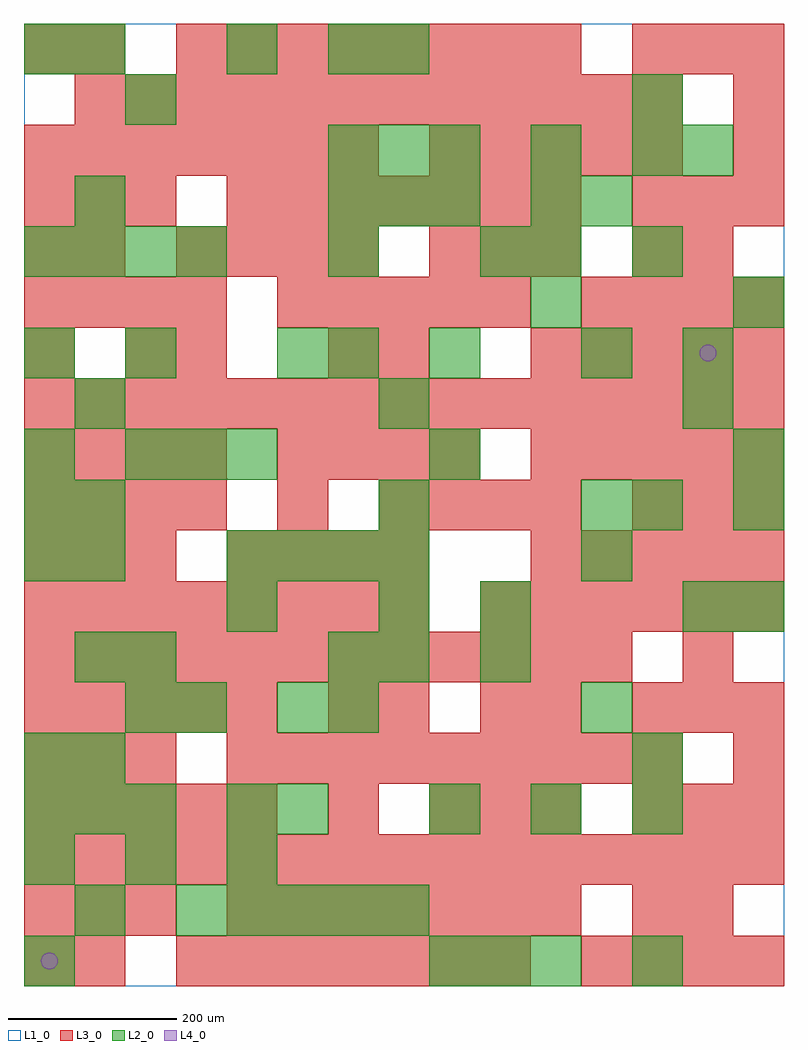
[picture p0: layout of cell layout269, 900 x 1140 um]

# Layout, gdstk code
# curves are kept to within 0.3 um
import gdstk
lib = gdstk.Library(unit=1e-6, precision=1e-09)
def R(c, l, rs):  # rectangles x0, y0, x1, y1
    for r in rs: c.add(gdstk.rectangle(r[:2], r[2:], *l))
def A(c, l, x, y, w, h, nx, ny, dx, dy):  # array of equal rectangles
    R(c, l, [(x+i*dx, y+j*dy, x+i*dx+w, y+j*dy+h) for i in range(nx) for j in range(ny)])
def P(c, l, *ps):  # polygons
    for p in ps: c.add(gdstk.Polygon(p, *l))
L1_0 = (1, 0)
L2_0 = (2, 0)
L3_0 = (3, 0)
L4_0 = (4, 0)

layout269 = lib.new_cell('layout269')
R(layout269, L1_0, [(0,0,900,1140)])
A(layout269, L2_0, 0, 0, 60, 60, 1, 3, 0, 240)
A(layout269, L2_0, 480, 0, 60, 60, 3, 1, 60, 0)
A(layout269, L2_0, 180, 60, 60, 60, 5, 1, 60, 0)
A(layout269, L2_0, 0, 120, 60, 60, 3, 1, 120, 0)
A(layout269, L2_0, 0, 180, 60, 60, 3, 1, 60, 0)
A(layout269, L2_0, 480, 180, 60, 60, 3, 1, 120, 0)
A(layout269, L2_0, 60, 240, 60, 60, 1, 3, 0, 120)
A(layout269, L2_0, 720, 240, 60, 60, 1, 3, 0, 300)
A(layout269, L2_0, 240, 480, 60, 60, 4, 1, 60, 0)
A(layout269, L2_0, 660, 540, 60, 60, 1, 3, 0, 180)
A(layout269, L2_0, 120, 600, 60, 60, 3, 1, 60, 0)
A(layout269, L2_0, 60, 660, 60, 60, 3, 1, 360, 0)
A(layout269, L2_0, 600, 780, 60, 60, 1, 4, 0, 60)
A(layout269, L2_0, 0, 840, 60, 60, 4, 1, 60, 0)
A(layout269, L2_0, 360, 900, 60, 60, 3, 2, 60, 60)
R(layout269, L2_0, [(720,0,780,60), (60,60,120,120), (240,180,300,240), (300,180,360,240), (120,300,180,360), (180,300,240,360), (300,300,360,360), (360,300,420,360), (660,300,720,360), (120,360,180,420), (360,360,420,420), (420,360,480,420), (540,360,600,420), (240,420,300,480), (420,420,480,480), (540,420,600,480), (780,420,840,480), (840,420,900,480), (660,480,720,540), (0,540,60,600), (60,540,120,600), (420,540,480,600), (840,540,900,600), (0,600,60,660), (480,600,540,660), (840,600,900,660), (0,720,60,780), (120,720,180,780), (300,720,360,780), (360,720,420,780), (480,720,540,780), (780,720,840,780), (840,780,900,840), (360,840,420,900), (540,840,600,900), (60,900,120,960), (720,960,780,1020), (780,960,840,1020), (120,1020,180,1080), (720,1020,780,1080), (0,1080,60,1140), (60,1080,120,1140), (240,1080,300,1140), (360,1080,420,1140), (420,1080,480,1140)])
A(layout269, L3_0, 180, 0, 60, 60, 7, 1, 60, 0)
A(layout269, L3_0, 660, 0, 60, 60, 4, 2, 60, 780)
A(layout269, L3_0, 0, 60, 60, 60, 3, 2, 60, 180)
A(layout269, L3_0, 240, 60, 60, 60, 7, 2, 60, 840)
A(layout269, L3_0, 0, 120, 60, 60, 15, 2, 60, 540)
A(layout269, L3_0, 0, 180, 60, 60, 5, 2, 60, 120)
A(layout269, L3_0, 480, 180, 60, 60, 3, 2, 60, 660)
A(layout269, L3_0, 720, 180, 60, 60, 3, 2, 60, 120)
A(layout269, L3_0, 240, 240, 60, 60, 9, 1, 60, 0)
A(layout269, L3_0, 0, 360, 60, 60, 12, 1, 60, 0)
A(layout269, L3_0, 0, 420, 60, 60, 8, 1, 60, 0)
A(layout269, L3_0, 540, 420, 60, 60, 6, 1, 60, 0)
A(layout269, L3_0, 0, 480, 60, 60, 3, 2, 60, 420)
A(layout269, L3_0, 240, 480, 60, 60, 4, 1, 60, 0)
A(layout269, L3_0, 600, 480, 60, 60, 5, 3, 60, 120)
A(layout269, L3_0, 0, 540, 60, 60, 4, 2, 60, 60)
A(layout269, L3_0, 420, 540, 60, 60, 4, 1, 60, 0)
A(layout269, L3_0, 720, 540, 60, 60, 3, 2, 60, 360)
A(layout269, L3_0, 300, 600, 60, 60, 4, 1, 60, 0)
A(layout269, L3_0, 0, 780, 60, 60, 4, 1, 60, 0)
A(layout269, L3_0, 300, 780, 60, 60, 5, 1, 60, 0)
A(layout269, L3_0, 180, 840, 60, 60, 4, 1, 60, 0)
A(layout269, L3_0, 0, 960, 60, 60, 7, 1, 60, 0)
A(layout269, L3_0, 480, 960, 60, 60, 5, 1, 60, 0)
A(layout269, L3_0, 60, 1020, 60, 60, 12, 1, 60, 0)
A(layout269, L3_0, 180, 1080, 60, 60, 8, 1, 60, 0)
A(layout269, L3_0, 720, 1080, 60, 60, 3, 1, 60, 0)
R(layout269, L3_0, [(0,0,60,60), (60,0,120,60), (720,60,780,120), (780,60,840,120), (360,180,420,240), (840,240,900,300), (360,300,420,360), (420,300,480,360), (540,300,600,360), (600,300,660,360), (780,360,840,420), (300,540,360,600), (0,720,60,780), (120,720,180,780), (180,720,240,780), (360,720,420,780), (420,720,480,780), (0,840,60,900), (60,840,120,900), (720,840,780,900), (780,840,840,900), (840,960,900,1020), (840,1020,900,1080), (0,1080,60,1140), (60,1080,120,1140)])
P(layout269, L4_0, [(40,30),(39.239,33.827),(37.071,37.071),(33.827,39.239),(30,40),(26.173,39.239),(22.929,37.071),(20.761,33.827),(20,30),(20.761,26.173),(22.929,22.929),(26.173,20.761),(30,20),(33.827,20.761),(37.071,22.929),(39.239,26.173)],
  [(820,750),(819.239,753.827),(817.071,757.071),(813.827,759.239),(810,760),(806.173,759.239),(802.929,757.071),(800.761,753.827),(800,750),(800.761,746.173),(802.929,742.929),(806.173,740.761),(810,740),(813.827,740.761),(817.071,742.929),(819.239,746.173)])

lib.write_gds('layout269.gds')
